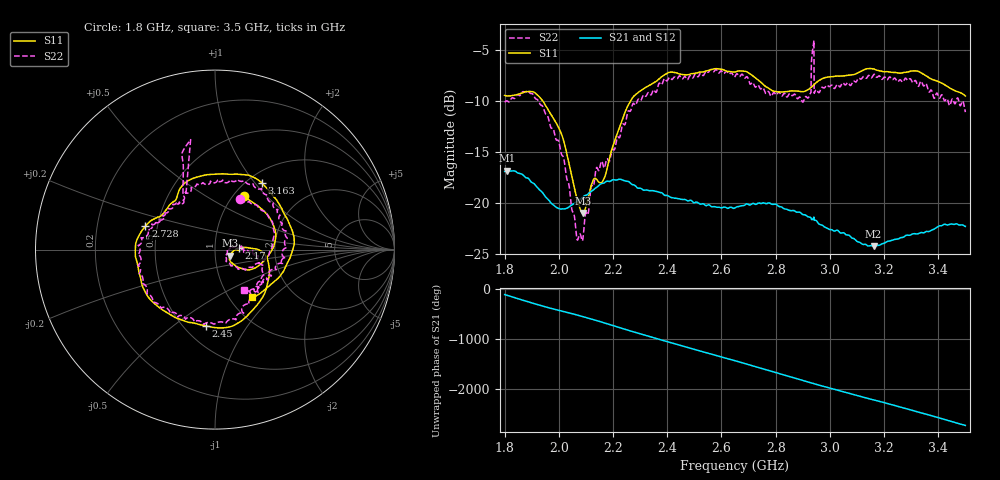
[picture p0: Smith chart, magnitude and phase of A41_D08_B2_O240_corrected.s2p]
! Created with skrf 1.9.0 (http://scikit-rf.org).
# Hz S RI R 50.0
!freq ReS11 ImS11 ReS21 ImS21 ReS12 ImS12 ReS22 ImS22
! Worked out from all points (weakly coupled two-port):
!   1601 points, 1.8 GHz to 3.5 GHz, reference 50 ohm
!   highest |S21| = -16.81 dB at 1.811 GHz (marker M1); lowest = -24.2 dB at 3.161 GHz (marker M2)
!   lowest |S11| = -21.0 dB at 2.089 GHz (marker M3), VSWR 1.20, Z = 58.9 - j4 ohm
!   |S11| at or under -10 dB: 1.941 GHz to 2.264 GHz (322.8 MHz wide, 15.4 % of centre)
!   |S22| runs from -23.7 to -4.0 dB; largest |S21 - S12| = 0.0027
!   S11 on the Smith chart (normalised r, x): 1.8 GHz: 1.12, +0.75; 2.17 GHz: 1.31, +0.03; 2.45 GHz: 0.63, -0.66; 2.728 GHz: 0.43, +0.14; 3.163 GHz: 1.16, +1.09; 3.5 GHz: 1.27, -0.75
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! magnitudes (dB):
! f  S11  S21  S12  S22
! 1.8 GHz  -9.4  -16.9  -16.9  -10.1
! 1.811 GHz  -9.5  -16.8  -16.8  -10.0
! 1.942 GHz  -10.0  -19.1  -19.1  -10.6
! 2.011 GHz  -13.3  -20.6  -20.6  -15.3
! 2.066 GHz  -19.4  -19.8  -19.8  -23.3
! 2.084 GHz  -20.9  -19.5  -19.5  -23.5
! 2.089 GHz  -21.0  -19.4  -19.4  -23.5
! 2.137 GHz  -17.6  -18.5  -18.5  -16.8
! 2.17 GHz  -17.4  -18.0  -18.0  -16.5
! 2.261 GHz  -10.1  -18.0  -18.0  -11.0
! 2.367 GHz  -7.9  -18.9  -18.9  -8.4
! 2.45 GHz  -7.4  -19.6  -19.6  -7.7
! 2.65 GHz  -7.1  -20.5  -20.4  -7.6
! 2.728 GHz  -7.8  -20.1  -20.1  -8.6
! 2.902 GHz  -9.1  -21.1  -21.1  -10.1
! 2.922 GHz  -8.8  -21.4  -21.3  -9.6
! 2.934 GHz  -8.6  -21.6  -21.6  -5.6
! 2.951 GHz  -8.2  -21.7  -21.8  -8.9
! 3.161 GHz  -6.8  -24.2  -24.2  -7.4
! 3.163 GHz  -6.9  -24.2  -24.2  -7.4
! 3.217 GHz  -7.1  -23.7  -23.7  -7.7
! 3.5 GHz  -9.5  -22.3  -22.3  -11.1
